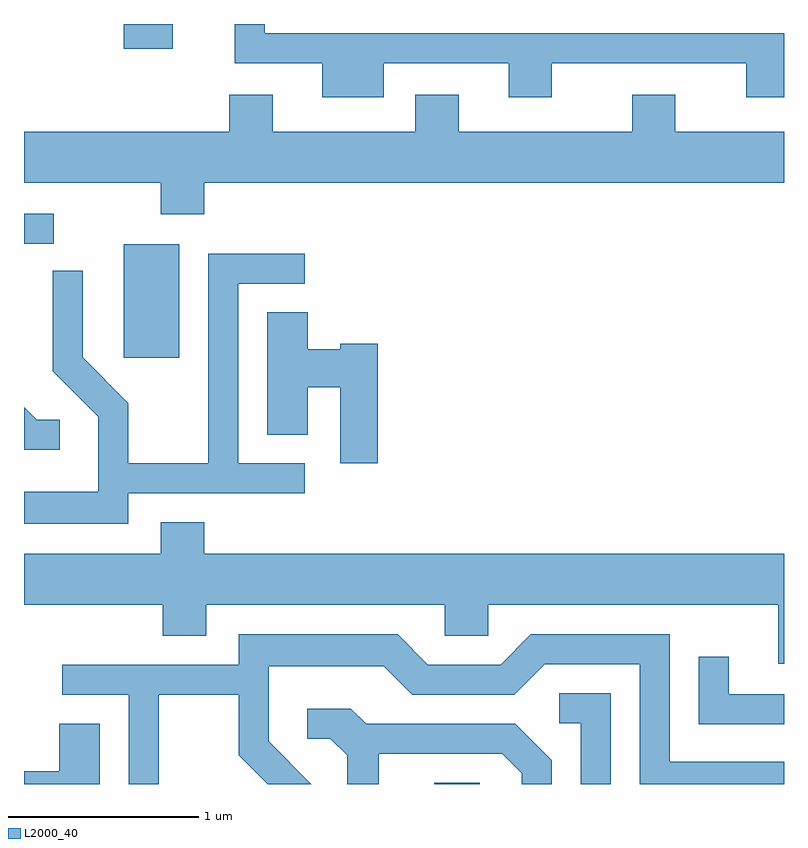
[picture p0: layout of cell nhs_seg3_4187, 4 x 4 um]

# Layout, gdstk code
import gdstk
lib = gdstk.Library(unit=1e-6, precision=1e-09)
def R(c, l, rs):  # rectangles x0, y0, x1, y1
    for r in rs: c.add(gdstk.rectangle(r[:2], r[2:], *l))
def P(c, l, *ps):  # polygons
    for p in ps: c.add(gdstk.Polygon(p, *l))
L2000_40 = (2000, 40)

nhs_seg3_4187 = lib.new_cell('nhs_seg3_4187')
R(nhs_seg3_4187, L2000_40, [(309.771,1193.892,310.009,1193.899), (308.136,1196.136,308.429,1196.734), (307.611,1196.736,307.768,1196.894), (308.136,1197.761,308.394,1197.892)])
P(nhs_seg3_4187, L2000_40, [(309.504,1197.686),(310.161,1197.686),(310.161,1197.506),(310.389,1197.506),(310.389,1197.686),(311.411,1197.686),(311.411,1197.506),(311.611,1197.506),(311.611,1197.844),(308.879,1197.844),(308.879,1197.892),(308.721,1197.892),(308.721,1197.686),(309.181,1197.686),(309.181,1197.506),(309.504,1197.506)],
  [(308.559,1197.056),(311.611,1197.056),(311.611,1197.324),(311.039,1197.324),(311.039,1197.519),(310.811,1197.519),(310.811,1197.324),(309.899,1197.324),(309.899,1197.519),(309.671,1197.519),(309.671,1197.324),(308.919,1197.324),(308.919,1197.519),(308.691,1197.519),(308.691,1197.324),(307.611,1197.324),(307.611,1197.056),(308.331,1197.056),(308.331,1196.891),(308.559,1196.891)],
  [(308.159,1195.421),(309.088,1195.421),(309.088,1195.579),(308.739,1195.579),(308.739,1196.526),(309.088,1196.526),(309.088,1196.684),(308.581,1196.684),(308.581,1195.579),(308.159,1195.579),(308.159,1195.897),(307.919,1196.137),(307.919,1196.593),(307.761,1196.593),(307.761,1196.064),(308.001,1195.824),(308.001,1195.429),(307.611,1195.429),(307.611,1195.261),(308.159,1195.261)],
  [(309.474,1196.209),(309.276,1196.209),(309.276,1196.179),(309.104,1196.179),(309.104,1196.374),(308.891,1196.374),(308.891,1195.731),(309.104,1195.731),(309.104,1195.981),(309.276,1195.981),(309.276,1195.581),(309.474,1195.581)],
  [(307.798,1195.809),(307.677,1195.809),(307.611,1195.875),(307.611,1195.651),(307.798,1195.651)],
  [(311.611,1195.104),(308.559,1195.104),(308.559,1195.269),(308.331,1195.269),(308.331,1195.104),(307.611,1195.104),(307.611,1194.836),(308.341,1194.836),(308.341,1194.671),(308.569,1194.671),(308.569,1194.836),(309.826,1194.836),(309.826,1194.671),(310.054,1194.671),(310.054,1194.836),(311.581,1194.836),(311.581,1194.526),(311.611,1194.526)],
  [(308.319,1194.361),(308.741,1194.361),(308.741,1194.044),(308.893,1193.892),(309.124,1193.892),(308.899,1194.117),(308.899,1194.511),(309.504,1194.511),(309.654,1194.361),(310.192,1194.361),(310.352,1194.521),(310.851,1194.521),(310.851,1193.892),(311.611,1193.892),(311.611,1194.009),(311.009,1194.009),(311.009,1194.679),(310.279,1194.679),(310.119,1194.519),(309.737,1194.519),(309.577,1194.679),(308.741,1194.679),(308.741,1194.519),(307.813,1194.519),(307.813,1194.361),(308.161,1194.361),(308.161,1193.892),(308.319,1193.892)],
  [(311.611,1194.364),(311.319,1194.364),(311.319,1194.563),(311.161,1194.563),(311.161,1194.206),(311.611,1194.206)],
  [(310.699,1194.369),(310.428,1194.369),(310.428,1194.211),(310.541,1194.211),(310.541,1193.892),(310.699,1193.892)],
  [(309.479,1194.051),(310.129,1194.051),(310.231,1193.949),(310.231,1193.892),(310.389,1193.892),(310.389,1194.017),(310.197,1194.209),(309.412,1194.209),(309.332,1194.289),(309.103,1194.289),(309.103,1194.131),(309.224,1194.131),(309.311,1194.044),(309.311,1193.892),(309.479,1193.892)],
  [(308.009,1194.209),(307.796,1194.209),(307.796,1193.959),(307.611,1193.959),(307.611,1193.892),(308.009,1193.892)])

lib.write_gds('nhs_seg3_4187.gds')
